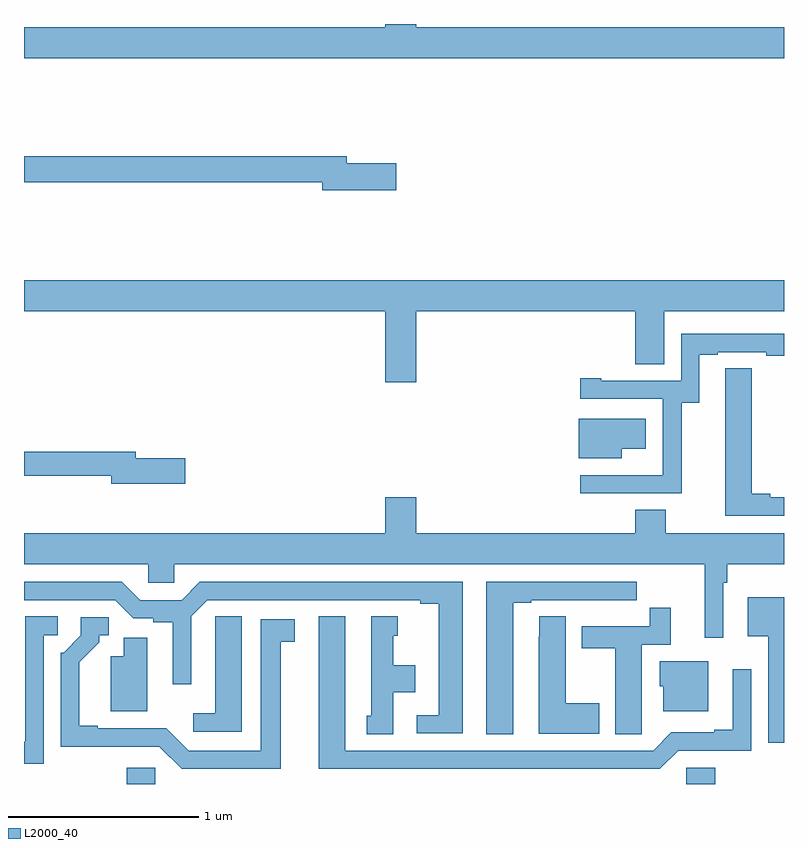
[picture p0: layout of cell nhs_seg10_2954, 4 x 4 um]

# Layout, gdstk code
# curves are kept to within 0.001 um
import gdstk
lib = gdstk.Library(unit=1e-6, precision=1e-09)
def R(c, l, rs):  # rectangles x0, y0, x1, y1
    for r in rs: c.add(gdstk.rectangle(r[:2], r[2:], *l))
def P(c, l, *ps):  # polygons
    for p in ps: c.add(gdstk.Polygon(p, *l))
L2000_40 = (2000, 40)

nhs_seg10_2954 = lib.new_cell('nhs_seg10_2954')
R(nhs_seg10_2954, L2000_40, [(271.541,1292.5,271.692,1292.586), (274.485,1292.5,274.637,1292.586)])
P(nhs_seg10_2954, L2000_40, [(275,1296.484),(273.064,1296.484),(273.064,1296.5),(272.9,1296.5),(272.9,1296.484),(271,1296.484),(271,1296.32),(275,1296.32)],
  [(272.959,1295.768),(272.698,1295.768),(272.698,1295.804),(271,1295.804),(271,1295.668),(272.57,1295.668),(272.57,1295.626),(272.959,1295.626)],
  [(273.064,1294.988),(274.217,1294.988),(274.217,1294.708),(274.369,1294.708),(274.369,1294.988),(275,1294.988),(275,1295.152),(271,1295.152),(271,1294.988),(272.9,1294.988),(272.9,1294.614),(273.064,1294.614)],
  [(274.461,1294.507),(274.555,1294.507),(274.555,1294.758),(274.651,1294.758),(274.651,1294.773),(274.907,1294.773),(274.907,1294.753),(275,1294.753),(275,1294.869),(274.458,1294.869),(274.458,1294.623),(274.039,1294.623),(274.039,1294.636),(273.927,1294.636),(273.927,1294.527),(274.362,1294.527),(274.362,1294.126),(274.361,1294.126),(274.361,1294.125),(273.927,1294.125),(273.927,1294.029),(274.461,1294.029)],
  [(275,1294.008),(274.927,1294.008),(274.927,1294.028),(274.831,1294.028),(274.831,1294.688),(274.692,1294.688),(274.692,1294.58),(274.691,1294.58),(274.691,1293.912),(275,1293.912)],
  [(274.147,1294.265),(274.273,1294.265),(274.273,1294.423),(273.92,1294.423),(273.92,1294.214),(274.147,1294.214)],
  [(271.849,1294.214),(271.588,1294.214),(271.588,1294.25),(271,1294.25),(271,1294.122),(271.46,1294.122),(271.46,1294.079),(271.849,1294.079)],
  [(274.68,1293.56),(274.7,1293.56),(274.7,1293.656),(275,1293.656),(275,1293.82),(274.377,1293.82),(274.377,1293.944),(274.217,1293.944),(274.217,1293.82),(273.064,1293.82),(273.064,1294.009),(272.9,1294.009),(272.9,1293.82),(271,1293.82),(271,1293.656),(271.653,1293.656),(271.653,1293.558),(271.791,1293.558),(271.791,1293.656),(274.583,1293.656),(274.583,1293.27),(274.68,1293.27)],
  [(273.31,1293.564),(271.925,1293.564),(271.829,1293.468),(271.611,1293.468),(271.515,1293.564),(271,1293.564),(271,1293.468),(271.479,1293.468),(271.575,1293.372),(271.68,1293.372),(271.68,1293.352),(271.784,1293.352),(271.784,1293.024),(271.881,1293.024),(271.881,1293.384),(271.965,1293.468),(273.086,1293.468),(273.086,1293.448),(273.182,1293.448),(273.182,1292.862),(273.066,1292.862),(273.066,1292.766),(273.31,1292.766)],
  [(273.574,1293.453),(273.67,1293.453),(273.67,1293.468),(273.946,1293.468),(273.946,1293.467),(274.112,1293.467),(274.112,1293.468),(274.225,1293.468),(274.225,1293.564),(273.434,1293.564),(273.434,1292.761),(273.574,1292.761)],
  [(275,1293.484),(274.808,1293.484),(274.808,1293.278),(274.917,1293.278),(274.917,1292.718),(275,1292.718)],
  [(274.251,1292.872),(274.252,1292.872),(274.252,1293.234),(274.403,1293.234),(274.403,1293.427),(274.294,1293.427),(274.294,1293.33),(273.935,1293.33),(273.935,1293.214),(274.112,1293.214),(274.112,1292.761),(274.251,1292.761)],
  [(271.104,1293.282),(271.177,1293.282),(271.177,1293.383),(271.007,1293.383),(271.007,1292.723),(271,1292.723),(271,1292.607),(271.104,1292.607)],
  [(272.146,1293.383),(272.007,1293.383),(272.007,1293.275),(272.006,1293.275),(272.006,1292.872),(271.89,1292.872),(271.89,1292.775),(272.146,1292.775)],
  [(274.027,1292.925),(273.85,1292.925),(273.85,1293.383),(273.711,1293.383),(273.711,1293.275),(273.71,1293.275),(273.71,1292.765),(274.027,1292.765)],
  [(272.944,1292.984),(273.058,1292.984),(273.058,1293.124),(272.944,1293.124),(272.944,1293.279),(272.968,1293.279),(272.968,1293.382),(272.828,1293.382),(272.828,1292.859),(272.804,1292.859),(272.804,1292.761),(272.944,1292.761)],
  [(274.443,1292.676),(274.827,1292.676),(274.827,1293.103),(274.73,1293.103),(274.73,1292.785),(274.634,1292.785),(274.634,1292.772),(274.407,1292.772),(274.311,1292.676),(272.692,1292.676),(272.692,1293.382),(272.552,1293.382),(272.552,1292.58),(274.347,1292.58)],
  [(272.35,1293.25),(272.425,1293.25),(272.425,1293.366),(272.246,1293.366),(272.246,1292.676),(271.866,1292.676),(271.749,1292.793),(271.387,1292.793),(271.387,1292.806),(271.291,1292.806),(271.291,1293.142),(271.396,1293.247),(271.396,1293.282),(271.446,1293.282),(271.446,1293.378),(271.299,1293.378),(271.299,1293.282),(271.209,1293.192),(271.194,1293.192),(271.194,1292.696),(271.713,1292.697),(271.83,1292.58),(272.35,1292.58)],
  [(271.648,1293.27),(271.526,1293.27),(271.526,1293.172),(271.457,1293.172),(271.457,1292.882),(271.648,1292.882)],
  [(274.6,1293.145),(274.346,1293.145),(274.346,1293.015),(274.364,1293.015),(274.364,1292.882),(274.6,1292.882)])

lib.write_gds('nhs_seg10_2954.gds')
